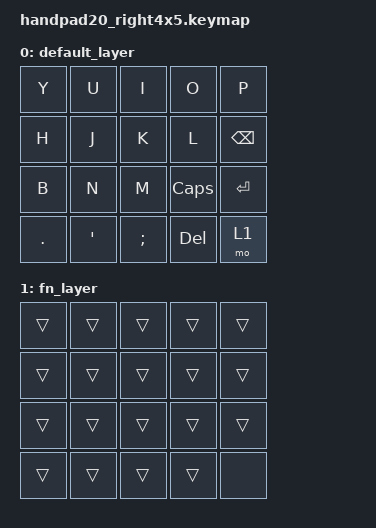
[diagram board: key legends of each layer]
#include <behaviors.dtsi>
#include <dt-bindings/zmk/keys.h>

/ {
    keymap {
        compatible = "zmk,keymap";

        default_layer {
            bindings = <
                &kp Y    &kp U    &kp I     &kp O    &kp P
                &kp H    &kp J    &kp K     &kp L    &kp BSPC
                &kp B    &kp N    &kp M     &kp CAPS &kp ENTER
                &kp DOT  &kp SQT  &kp SEMI  &kp DEL  &mo 1
            >;
        };

        fn_layer {
            bindings = <
                &trans  &trans  &trans  &trans  &trans
                &trans  &trans  &trans  &trans  &trans
                &trans  &trans  &trans  &trans  &trans
                &trans  &trans  &trans  &trans  &none
            >;
        };
    };
};
